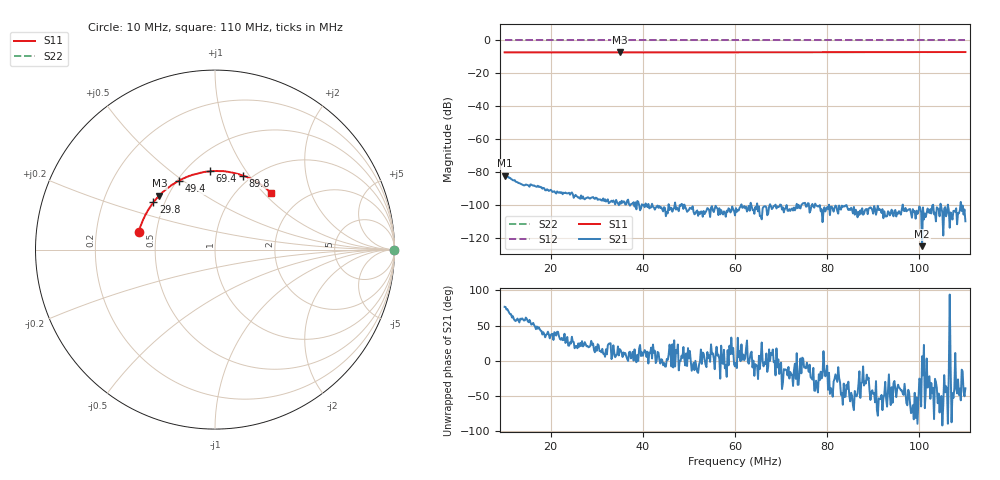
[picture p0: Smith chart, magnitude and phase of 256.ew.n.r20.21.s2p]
! Anritsu VNA Master:  Model: MS2036C/10/77
! SN:  1601066
! /card0/usr/256.ew.n.r20.21.s2p
! Existing Calibration Information:
! TYPE:  Current Settings,  Active Cal Settings
! TIME:  12/19/2017 03:06:55 PM,  12/19/2017 02:53:44 PM
! INTERNAL TEMP:  46.8 C,  46.3 C
! # POINTS:  501,  501
! START FREQ:  10.000 MHz,  10.000 MHz
! STOP FREQ:  110.000 MHz,  110.000 MHz
! SOURCE POWER:  High,  High
! IFBW:  100 Hz,  100 Hz
! AVG FACTOR:  1 ,  1
! REF PLANE 1:  0 mm,  0 mm
! REF PLANE 2:  0 mm,  0 mm
! CAL TYPE:  Full S11,  Full S11
! CAL METHOD:  SOLT,  SOLT
! CAL LINE TYPE:  Coax,  Coax
! DUT PORT 1:  N-Conn(F),  N-Conn(F)
! DUT PORT 2:  K-Conn(F),  K-Conn(F)
! CAL STATUS:  OK: Accuracy High,  --
# GHZ S DB R 50.0
! FREQ.GHZ  S11DB  S11A  S21DB  S21A  S12DB  S12A  S22DB  S22A
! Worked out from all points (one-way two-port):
!   501 points, 10 MHz to 110 MHz, reference 50 ohm
!   highest |S21| = -82.17 dB at 10 MHz (marker M1); lowest = -125.1 dB at 100.6 MHz (marker M2)
!   lowest |S11| = -7.3 dB at 35 MHz (marker M3), VSWR 2.52, Z = 22.5 + j16.7 ohm
!   |S11| at or under -10 dB: nowhere
!   |S22| runs from 0.0 to 0.0 dB; largest |S21 - S12| = 1
!   S11 on the Smith chart (normalised r, x): 10 MHz: 0.40, +0.10; 29.8 MHz: 0.43, +0.28; 49.4 MHz: 0.51, +0.48; 69.4 MHz: 0.65, +0.70; 89.8 MHz: 0.91, +0.93; 110 MHz: 1.40, +1.10
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0.01  -7.22 167.1  -82.17 76.8  0.00 0.0  0.00 0.0
0.0142  -7.23 161.8  -88.15 57.1  0.00 0.0  0.00 0.0
0.0184  -7.26 156.5  -89.66 40.4  0.00 0.0  0.00 0.0
0.0214  -7.26 152.7  -91.79 41.1  0.00 0.0  0.00 0.0
0.0268  -7.29 145.9  -96.07 27.7  0.00 0.0  0.00 0.0
0.0298  -7.27 142.4  -95.59 19.6  0.00 0.0  0.00 0.0
0.035  -7.30 135.8  -98.18 16.3  0.00 0.0  0.00 0.0
0.0404  -7.27 128.9  -101.38 14.9  0.00 0.0  0.00 0.0
0.0434  -7.27 125.3  -101.76 11.0  0.00 0.0  0.00 0.0
0.0476  -7.26 120.0  -102.42 22.9  0.00 0.0  0.00 0.0
0.0494  -7.28 118.0  -102.48 10.2  0.00 0.0  0.00 0.0
0.0552  -7.24 110.7  -103.33 10.3  0.00 0.0  0.00 0.0
0.06  -7.25 105.1  -106.38 -8.4  0.00 0.0  0.00 0.0
0.0652  -7.20 98.5  -100.88 6.8  0.00 0.0  0.00 0.0
0.0694  -7.18 93.6  -101.32 1.7  0.00 0.0  0.00 0.0
0.0768  -7.15 84.7  -99.41 -27.1  0.00 0.0  0.00 0.0
0.0846  -7.12 75.5  -103.08 -30.2  0.00 0.0  0.00 0.0
0.0898  -7.12 69.3  -103.29 -42.4  0.00 0.0  0.00 0.0
0.0934  -7.09 65.2  -104.49 -19.7  0.00 0.0  0.00 0.0
0.1006  -7.06 56.7  -125.07 6.1  0.00 0.0  0.00 0.0
0.1064  -7.06 49.7  -103.30 -17.0  0.00 0.0  0.00 0.0
0.11  -7.05 45.5  -109.95 -39.6  0.00 0.0  0.00 0.0
